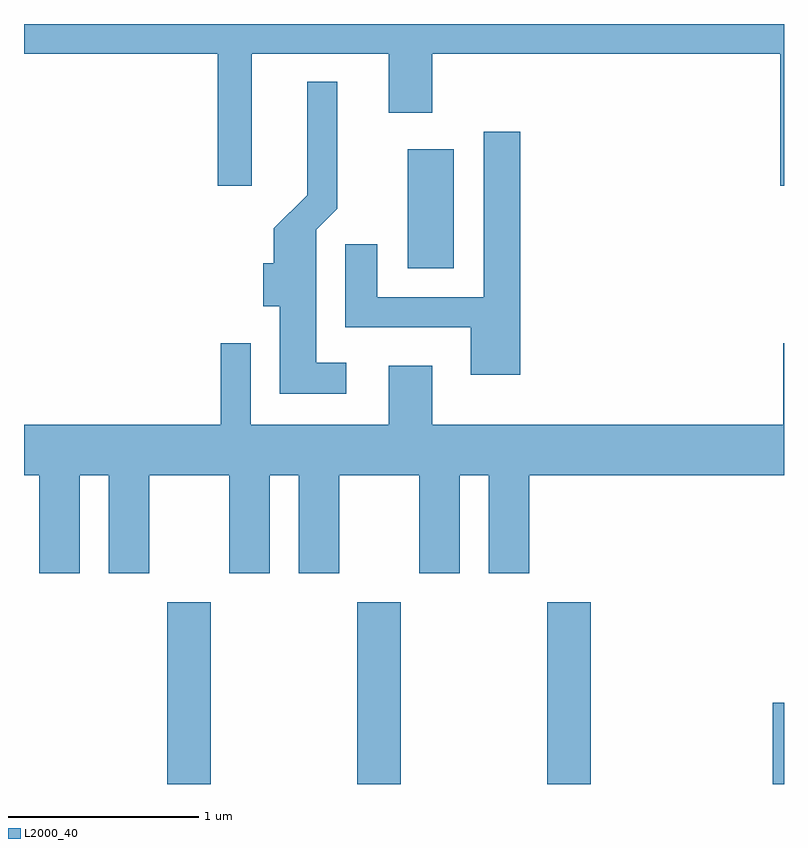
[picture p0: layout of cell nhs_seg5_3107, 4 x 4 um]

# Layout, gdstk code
import gdstk
lib = gdstk.Library(unit=1e-6, precision=1e-09)
def R(c, l, rs):  # rectangles x0, y0, x1, y1
    for r in rs: c.add(gdstk.rectangle(r[:2], r[2:], *l))
def A(c, l, x, y, w, h, nx, ny, dx, dy):  # array of equal rectangles
    R(c, l, [(x+i*dx, y+j*dy, x+i*dx+w, y+j*dy+h) for i in range(nx) for j in range(ny)])
def P(c, l, *ps):  # polygons
    for p in ps: c.add(gdstk.Polygon(p, *l))
L2000_40 = (2000, 40)

nhs_seg5_3107 = lib.new_cell('nhs_seg5_3107')
A(nhs_seg5_3107, L2000_40, 278.366, 1444.072, 0.228, 0.957, 3, 1, 1, 0)
R(nhs_seg5_3107, L2000_40, [(281.551,1444.072,281.611,1444.499), (279.631,1446.786,279.874,1447.414)])
P(nhs_seg5_3107, L2000_40, [(278.809,1447.916),(279.531,1447.916),(279.531,1447.606),(279.759,1447.606),(279.759,1447.916),(281.591,1447.916),(281.591,1447.221),(281.611,1447.221),(281.611,1448.072),(277.611,1448.072),(277.611,1447.916),(278.631,1447.916),(278.631,1447.221),(278.809,1447.221)],
  [(279.308,1446.289),(279.149,1446.289),(279.149,1446.989),(279.259,1447.099),(279.259,1447.768),(279.101,1447.768),(279.101,1447.172),(278.926,1446.997),(278.926,1446.814),(278.871,1446.814),(278.871,1446.586),(278.956,1446.586),(278.956,1446.126),(279.308,1446.126)],
  [(280.224,1447.504),(280.031,1447.504),(280.031,1446.634),(279.469,1446.634),(279.469,1446.913),(279.301,1446.913),(279.301,1446.476),(279.961,1446.476),(279.961,1446.226),(280.224,1446.226)],
  [(277.904,1445.696),(278.056,1445.696),(278.056,1445.181),(278.269,1445.181),(278.269,1445.696),(278.691,1445.696),(278.691,1445.181),(278.904,1445.181),(278.904,1445.696),(279.056,1445.696),(279.056,1445.181),(279.269,1445.181),(279.269,1445.696),(279.691,1445.696),(279.691,1445.181),(279.904,1445.181),(279.904,1445.696),(280.056,1445.696),(280.056,1445.181),(280.269,1445.181),(280.269,1445.696),(281.611,1445.696),(281.611,1446.393),(281.606,1446.393),(281.606,1445.964),(279.759,1445.964),(279.759,1446.274),(279.531,1446.274),(279.531,1445.964),(278.804,1445.964),(278.804,1446.393),(278.646,1446.393),(278.646,1445.964),(277.611,1445.964),(277.611,1445.696),(277.691,1445.696),(277.691,1445.181),(277.904,1445.181)])

lib.write_gds('nhs_seg5_3107.gds')
